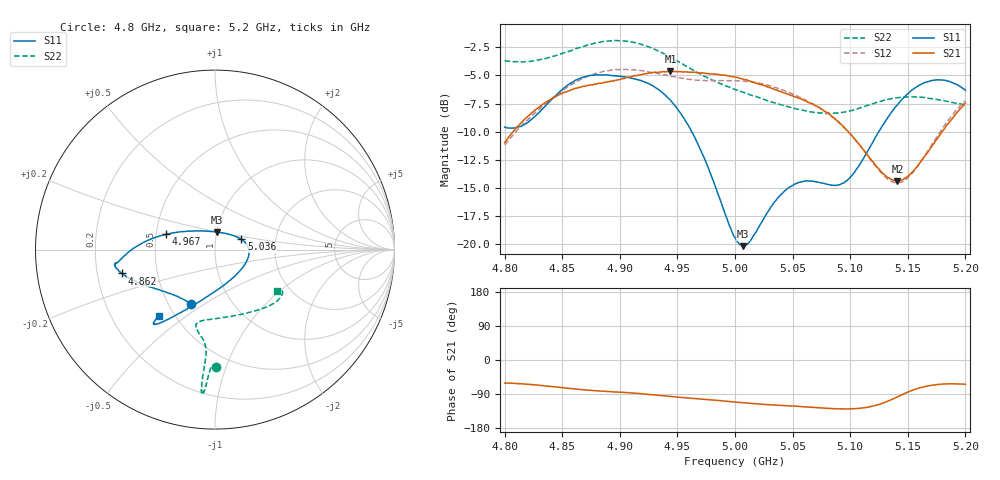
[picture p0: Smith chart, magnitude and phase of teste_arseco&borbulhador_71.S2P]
! Network Analyzer HP8722D
! Hewlett-Packard
! Data name: Linha & Wilkinson
! Saver's name: Rodrigo Anjos
! Comments: Teste da utilização de aquisição
! continua pelo VNA HP8722D
! Time and date: 15/4/2025 16:13
!  Frequency  S11  S21  S12  S22
# HZ  S  MA R 50
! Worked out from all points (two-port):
!   401 points, 4.8 GHz to 5.2 GHz, reference 50 ohm
!   highest |S21| = -4.63 dB at 4.944 GHz (marker M1); lowest = -14.4 dB at 5.141 GHz (marker M2)
!   |S21| within 3 dB of the highest: 4.832 GHz to 5.069 GHz (236.5 MHz wide, 4.78 % of centre); 5.198485 GHz to end of sweep
!   lowest |S11| = -20.2 dB at 5.007 GHz (marker M3), VSWR 1.22, Z = 50.2 + j9.84 ohm
!   |S11| at or under -10 dB: 4.962 GHz to 5.125 GHz (162.5 MHz wide, 3.22 % of centre)
!   |S22| runs from -8.4 to -1.9 dB; largest |S21 - S12| = 0.88
!   S11 on the Smith chart (normalised r, x): 4.8 GHz: 0.65, -0.44; 4.862 GHz: 0.31, -0.11; 4.967 GHz: 0.57, +0.11; 5.036 GHz: 1.33, +0.16; 5.2 GHz: 0.41, -0.40
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4.8e9  0.3311 -113.9  0.2824 -60.9  0.2758 -175.1  0.6547 -89.6
4.819e9  0.3453 -133.6  0.3652 -63.7  0.3533 -173.3  0.6473 -91.2
4.84e9  0.435 -152.8  0.4405 -69.6  0.4394 -173.6  0.6781 -92.4
4.862e9  0.5368 -165.7  0.4934 -76.8  0.5256 -176.4  0.741 -93.5
4.867e9  0.55 -167.6  0.5013 -78.2  0.5433 -177.4  0.7542 -93.7
4.901e9  0.5577 -172.1  0.5422 -85.1  0.597 175.6  0.8027 -95.2
4.934e9  0.4852 -178.1  0.581 -93.4  0.5724 171.9  0.7183 -95.6
4.944e9  0.4359 177.5  0.5868 -96.2  0.558 171.9  0.6777 -95.4
4.967e9  0.2841 162.4  0.5785 -102.1  0.5366 173.9  0.5809 -94.9
5e9  0.1069 107.0  0.5521 -111.0  0.5335 176.4  0.487 -99.3
5.007e9  0.09781 83.5  0.5414 -112.8  0.5308 176.4  0.473 -101.0
5.013e9  0.1032 63.9  0.5298 -114.3  0.5249 176.2  0.4615 -102.2
5.036e9  0.1576 21.4  0.4852 -119.2  0.4959 175.1  0.4212 -103.7
5.051e9  0.1837 6.0  0.4534 -121.5  0.4623 174.4  0.4016 -99.9
5.067e9  0.1903 -11.3  0.4214 -124.6  0.4211 173.8  0.3863 -91.7
5.087e9  0.1822 -43.8  0.3594 -128.5  0.3575 173.7  0.3822 -76.9
5.097e9  0.1908 -65.0  0.3211 -129.2  0.3203 174.4  0.3884 -68.5
5.134e9  0.3737 -116.1  0.196 -107.0  0.1922 -159.7  0.4415 -43.4
5.141e9  0.4171 -120.1  0.1907 -97.2  0.1873 -148.8  0.4478 -40.2
5.153e9  0.4814 -124.9  0.2068 -80.9  0.2043 -130.2  0.4516 -35.9
5.171e9  0.534 -128.8  0.2728 -66.5  0.2777 -112.3  0.443 -31.8
5.2e9  0.4825 -130.4  0.4232 -64.2  0.4343 -106.1  0.4148 -33.4
